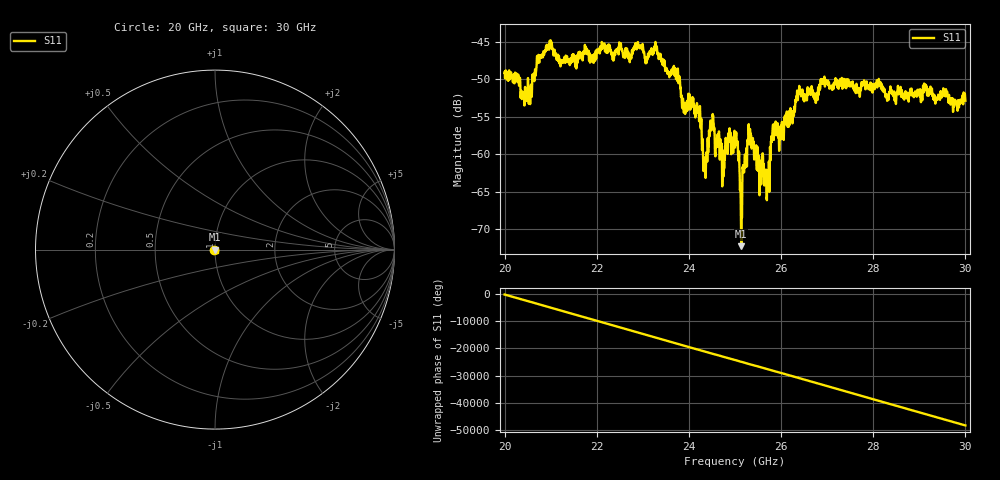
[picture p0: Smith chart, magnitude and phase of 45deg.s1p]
#  HZ  S  RI  R  50.00
! Rohde & Schwarz ZVA40 4Ports - Version 3.90 - 1145.1110k42 SN: 100403
! Date: 2023-10-03 11:56:10
! Measurement: S12
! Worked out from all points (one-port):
!   5001 points, 20 GHz to 30 GHz, reference 50 ohm
!   lowest |S11| = -72.3 dB at 25.14 GHz (marker M1), VSWR 1.00, Z = 50 - j0.0243 ohm
!   |S11| at or under -10 dB: start of sweep to end of sweep
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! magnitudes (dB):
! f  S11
! 20 GHz  -49.2
! 20.27 GHz  -49.6
! 20.45 GHz  -51.9
! 20.96 GHz  -45.4
! 21.25 GHz  -47.6
! 22.5 GHz  -45.5
! 22.93 GHz  -45.7
! 23.08 GHz  -47.2
! 23.29 GHz  -45.8
! 23.75 GHz  -50.1
! 23.9 GHz  -53.5
! 24.2 GHz  -54.4
! 24.35 GHz  -60.9
! 24.5 GHz  -56.4
! 24.74 GHz  -60.0
! 24.86 GHz  -58.1
! 25 GHz  -59.1
! 25.05 GHz  -58.8
! 25.11 GHz  -64.4
! 25.14 GHz  -72.3
! 25.31 GHz  -58.3
! 25.68 GHz  -63.6
! 25.84 GHz  -57.9
! 26.25 GHz  -55.7
! 26.42 GHz  -51.5
! 27.5 GHz  -50.7
! 28.75 GHz  -52.0
! 30 GHz  -52.9
